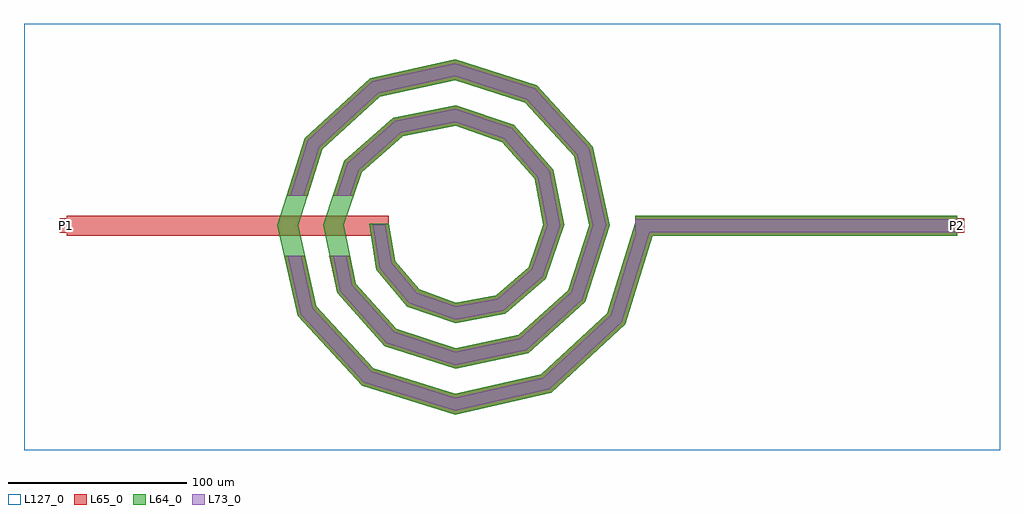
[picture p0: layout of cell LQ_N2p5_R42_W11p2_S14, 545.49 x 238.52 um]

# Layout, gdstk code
import gdstk
lib = gdstk.Library(unit=1e-6, precision=1e-09)
def R(c, l, rs):  # rectangles x0, y0, x1, y1
    for r in rs: c.add(gdstk.rectangle(r[:2], r[2:], *l))
def P(c, l, *ps):  # polygons
    for p in ps: c.add(gdstk.Polygon(p, *l))
L64_0 = (64, 0)
L65_0 = (65, 0)
L73_0 = (73, 0)
L127_0 = (127, 0)

lq_n2p5_r42_w11p2_s14 = lib.new_cell('LQ_N2p5_R42_W11p2_S14')
R(lq_n2p5_r42_w11p2_s14, L64_0, [(100.61,-5.6,280.61,5.6)])
P(lq_n2p5_r42_w11p2_s14, L64_0, [(-33.371,-19.86),(-20.052,-35.711),(0.469,-43.075),(22.989,-38.918),(41.197,-23.287),(49.444,0.415),(44.459,26.13),(26.511,46.691),(0.373,55.814),(-29.281,49.996),(-52.189,29.729),(-62.185,0.338),(-55.529,-32.438),(-32.941,-57.691),(0.309,-68.556),(35.6,-61.061),(63.196,-36.149),(74.928,0.284),(66.59,38.766),(39.354,68.703),(0.264,81.3),(-41.935,72.118),(-74.212,42.556),(-87.672,0.246),(-77.645,-45.106),(-45.756,-79.722),(0.23,-94.044),(48.279,-83.171),(85.233,-48.955),(100.859,1.652),(111.561,-1.652),(95.048,-55.131),(53.683,-93.431),(0.23,-105.631),(-51.957,-89.522),(-87.92,-50.483),(-99.258,0.246),(-83.994,48.784),(-47.282,82.409),(0.264,92.885),(45.614,78.465),(76.899,44.078),(86.511,0.284),(72.935,-42.446),(40.871,-71.391),(0.309,-80.137),(-39.282,-67.402),(-65.885,-37.66),(-73.763,0.338),(-61.867,36.121),(-34.445,60.381),(0.373,67.389),(32.966,56.327),(54.88,31.223),(61.014,0.415),(50.783,-29.818),(27.992,-49.383),(0.469,-54.638),(-26.681,-45.232),(-43.893,-24.748),(-48.002,0.953),(-36.966,0.953)])
R(lq_n2p5_r42_w11p2_s14, L65_0, [(-216.884,-5.6,-36.884,5.6), (100.61,-5.6,280.61,5.6), (-220.884,-4,-212.884,4), (276.61,-4,284.61,4)])
P(lq_n2p5_r42_w11p2_s14, L65_0, [(-77.645,-45.106),(-45.756,-79.722),(0.23,-94.044),(48.279,-83.171),(85.233,-48.955),(100.859,1.652),(111.561,-1.652),(95.048,-55.131),(53.683,-93.431),(0.23,-105.631),(-51.957,-89.522),(-87.92,-50.483),(-95.448,-16.8),(-83.972,-16.8)],
  [(-55.529,-32.438),(-32.941,-57.691),(0.309,-68.556),(35.6,-61.061),(63.196,-36.149),(74.928,0.284),(66.59,38.766),(39.354,68.703),(0.264,81.3),(-41.935,72.118),(-74.212,42.556),(-82.311,16.8),(-94.052,16.8),(-83.994,48.784),(-47.282,82.409),(0.264,92.885),(45.614,78.465),(76.899,44.078),(86.511,0.284),(72.935,-42.446),(40.871,-71.391),(0.309,-80.137),(-39.282,-67.402),(-65.885,-37.661),(-70.21,-16.8),(-58.772,-16.8)],
  [(-20.052,-35.711),(0.469,-43.075),(22.989,-38.918),(41.197,-23.287),(49.444,0.415),(44.459,26.13),(26.511,46.691),(0.373,55.814),(-29.281,49.996),(-52.189,29.729),(-56.488,16.8),(-68.29,16.8),(-61.867,36.121),(-34.445,60.381),(0.373,67.389),(32.966,56.328),(54.88,31.223),(61.014,0.415),(50.783,-29.818),(27.992,-49.383),(0.469,-54.638),(-26.681,-45.232),(-43.893,-24.748),(-48.002,0.953),(-36.966,0.953),(-33.371,-19.86)])
R(lq_n2p5_r42_w11p2_s14, L73_0, [(100.61,-3.6,280.61,3.6)])
P(lq_n2p5_r42_w11p2_s14, L73_0, [(-79.48,-46.066),(-46.864,-81.472),(0.148,-96.113),(49.244,-85.003),(86.986,-50.058),(102.77,1.062),(109.65,-1.062),(93.296,-54.028),(52.718,-91.599),(0.148,-103.562),(-50.85,-87.772),(-86.085,-49.523),(-93.399,-16.8),(-86.021,-16.8)],
  [(-57.379,-33.371),(-34.073,-59.425),(0.199,-70.624),(36.541,-62.905),(64.935,-37.274),(76.996,0.183),(68.431,39.715),(40.472,70.447),(0.17,83.368),(-42.89,73.956),(-75.959,43.668),(-84.408,16.8),(-91.956,16.8),(-82.247,47.672),(-46.327,80.571),(0.17,90.816),(44.496,76.722),(75.058,43.129),(84.443,0.183),(71.196,-41.322),(39.93,-69.546),(0.199,-78.069),(-38.149,-65.668),(-64.036,-36.728),(-68.168,-16.8),(-60.814,-16.8)],
  [(-21.235,-37.411),(0.302,-45.14),(23.882,-40.787),(42.909,-24.453),(51.51,0.267),(46.32,27.04),(27.664,48.412),(0.24,57.881),(-30.203,51.85),(-53.917,30.87),(-58.595,16.8),(-66.183,16.8),(-60.139,34.98),(-33.523,58.526),(0.24,65.322),(31.814,54.607),(53.019,30.314),(58.948,0.267),(49.071,-28.652),(27.099,-47.515),(0.302,-52.573),(-25.497,-43.532),(-42.014,-23.875),(-46.031,0.613),(-38.937,0.613),(-35.25,-20.733)])
R(lq_n2p5_r42_w11p2_s14, L127_0, [(-240.884,-125.631,304.61,112.885)])
lq_n2p5_r42_w11p2_s14.add(gdstk.Label('P2', (280.61,0), layer=65, texttype=0))
lq_n2p5_r42_w11p2_s14.add(gdstk.Label('P1', (-216.884,0), layer=65, texttype=0))
lq_n2p5_r42_w11p2_s14.add(gdstk.Label('P2', (284.61,0), layer=145, texttype=0))
lq_n2p5_r42_w11p2_s14.add(gdstk.Label('P1', (-220.884,0), layer=145, texttype=0))

lib.write_gds('LQ_N2p5_R42_W11p2_S14.gds')
